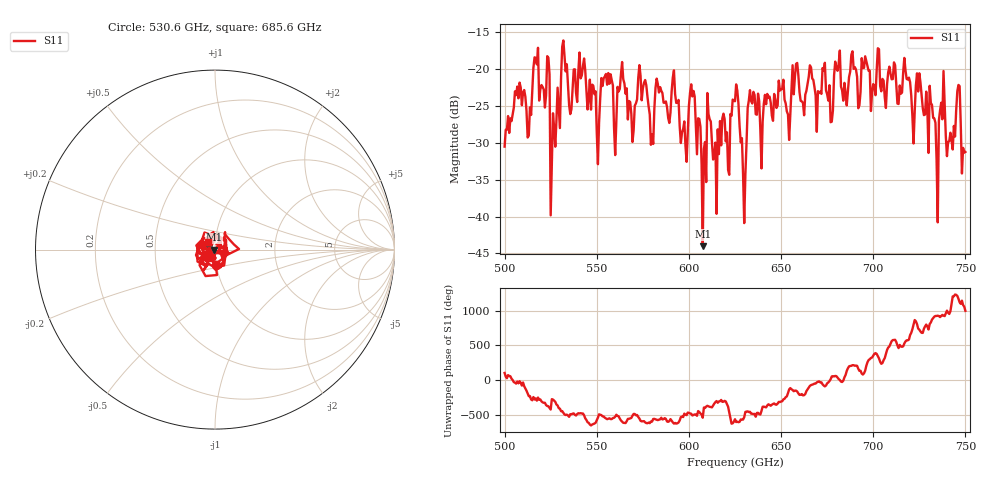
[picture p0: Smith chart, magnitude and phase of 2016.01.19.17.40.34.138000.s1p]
!Created with skrf (http://scikit-rf.org).
# GHz S RI R 50.0
!freq ReS11 ImS11
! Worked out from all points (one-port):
!   401 points, 500 GHz to 750 GHz, reference 50 ohm
!   lowest |S11| = -44.0 dB at 607.5 GHz (marker M1), VSWR 1.01, Z = 49.4 + j0.00534 ohm
!   |S11| at or under -10 dB: start of sweep to end of sweep
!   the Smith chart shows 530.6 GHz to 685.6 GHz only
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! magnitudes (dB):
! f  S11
! 500 GHz  -30.5
! 506.9 GHz  -22.4
! 513.1 GHz  -29.0
! 516.9 GHz  -18.5
! 523.1 GHz  -18.2
! 526.2 GHz  -26.0
! 531.2 GHz  -16.9
! 550.6 GHz  -32.9
! 562.5 GHz  -22.7
! 579.4 GHz  -30.3
! 583.1 GHz  -22.0
! 593.8 GHz  -24.5
! 598.1 GHz  -30.4
! 601.9 GHz  -23.7
! 607.5 GHz  -44.0
! 611.2 GHz  -26.8
! 613.8 GHz  -31.6
! 621.2 GHz  -33.7
! 625 GHz  -24.3
! 630 GHz  -40.9
! 633.8 GHz  -24.3
! 656.2 GHz  -19.5
! 687.5 GHz  -20.3
! 718.8 GHz  -21.4
! 734.4 GHz  -32.4
! 737.5 GHz  -26.8
! 746.2 GHz  -22.1
! 750 GHz  -31.2
